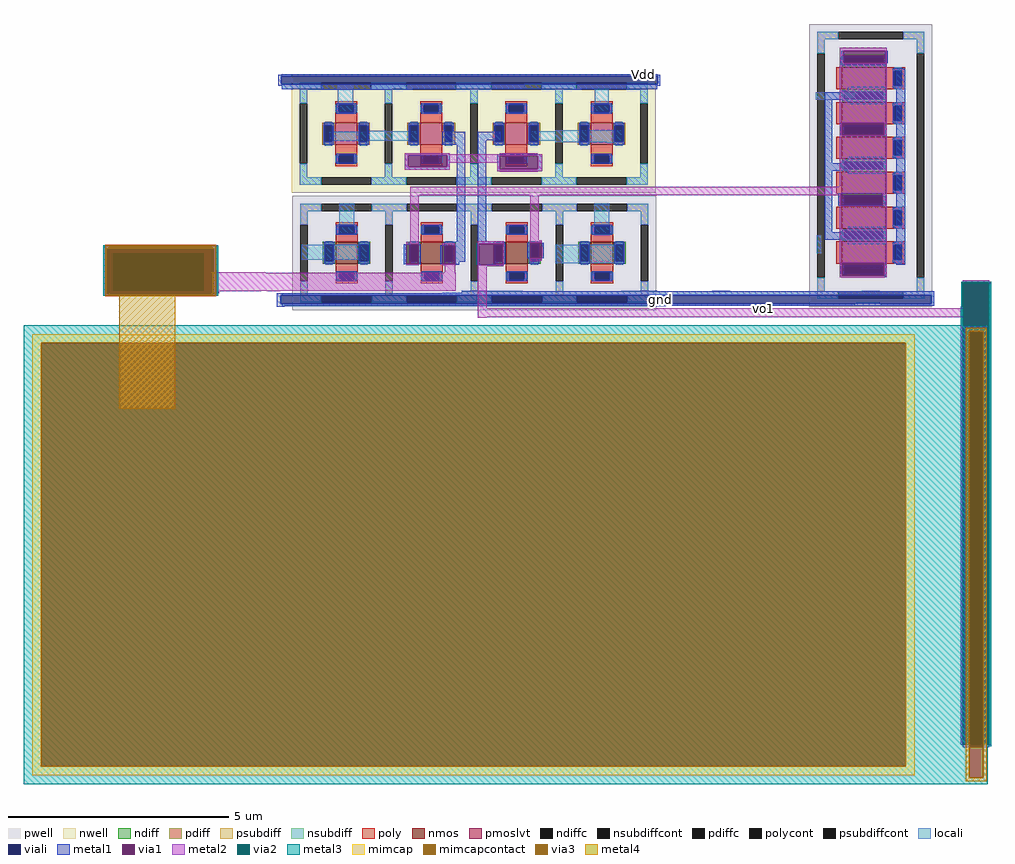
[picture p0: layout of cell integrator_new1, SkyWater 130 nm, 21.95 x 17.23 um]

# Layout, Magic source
magic
tech sky130A
magscale 1 2
<< locali >>
rect 2418 3468 4121 3477
rect 2418 3430 3518 3431
rect 2418 3409 2604 3430
rect 2672 3300 2742 3428
rect 2876 3409 3518 3430
rect 3598 3409 4121 3431
rect 3836 3304 3900 3409
rect 4840 3362 5016 3396
rect 2806 3218 2890 3220
rect 3658 3218 3964 3224
rect 2806 3217 3034 3218
rect 2634 3176 3034 3217
rect 3544 3176 3964 3218
rect 3658 3169 3964 3176
rect 3658 3168 3730 3169
rect 3894 3166 3964 3169
rect 2678 2752 2746 2888
rect 3834 2748 3902 2888
rect 2506 2636 2810 2704
rect 3662 2620 3970 2704
rect 4843 2665 4864 2747
rect 5047 2596 5129 2606
rect 4369 2494 4451 2496
rect 5047 2494 5129 2496
rect 3234 2486 5376 2494
rect 3146 2484 5376 2486
rect 2420 2474 5376 2484
rect 2420 2428 5018 2437
rect 5363 2437 5376 2474
rect 5134 2428 5376 2437
rect 2420 2426 4158 2428
<< viali >>
rect 2415 3434 4123 3468
rect 2415 3431 3518 3434
rect 3598 3431 4123 3434
rect 2414 2438 5363 2474
rect 2414 2437 5018 2438
rect 5134 2437 5363 2438
<< metal1 >>
rect 4954 3526 4964 3584
rect 5156 3526 5166 3584
rect 4984 3522 5157 3526
rect 2418 3474 4121 3477
rect 2403 3468 4135 3474
rect 2403 3431 2415 3468
rect 3518 3431 3598 3434
rect 4123 3431 4135 3468
rect 2403 3425 4135 3431
rect 2418 3410 4121 3425
rect 2418 3409 3518 3410
rect 3598 3409 4121 3410
rect 2598 3408 2916 3409
rect 2971 3408 3010 3409
rect 3737 3406 3775 3409
rect 4984 3396 5156 3421
rect 4881 3362 5156 3396
rect 3146 3158 3250 3216
rect 2976 3110 3180 3120
rect 2976 3058 2992 3110
rect 3168 3058 3180 3110
rect 2976 3044 3180 3058
rect 3212 2718 3250 3158
rect 3307 3177 3410 3216
rect 3307 2720 3346 3177
rect 3396 3108 3600 3114
rect 3396 3046 3406 3108
rect 3578 3046 3600 3108
rect 4881 3073 4915 3362
rect 4984 3342 5156 3362
rect 4948 3200 4958 3258
rect 5150 3200 5160 3258
rect 4984 3073 5158 3104
rect 3396 3038 3600 3046
rect 4879 3039 5158 3073
rect 4879 2761 4913 3039
rect 4984 3025 5158 3039
rect 4942 2880 4952 2938
rect 5144 2880 5154 2938
rect 4984 2761 5158 2785
rect 4879 2727 5158 2761
rect 1624 2482 1634 2686
rect 2102 2482 2112 2686
rect 2972 2616 2982 2707
rect 3039 2616 3049 2707
rect 3182 2703 3250 2718
rect 3306 2708 3424 2720
rect 3148 2702 3250 2703
rect 3136 2616 3146 2702
rect 3204 2628 3250 2702
rect 3204 2616 3222 2628
rect 3302 2616 3312 2708
rect 3422 2616 3432 2708
rect 3532 2642 3542 2714
rect 3596 2642 3606 2714
rect 4984 2706 5158 2727
rect 3148 2614 3222 2616
rect 3306 2614 3319 2616
rect 3392 2614 3424 2616
rect 3306 2612 3424 2614
rect 4948 2564 4958 2622
rect 5150 2564 5160 2622
rect 5204 2614 5245 3501
rect 4984 2562 5036 2564
rect 3234 2494 3510 2495
rect 3958 2494 4121 2495
rect 3234 2486 5376 2494
rect 3146 2484 5376 2486
rect 2396 2474 5376 2484
rect 2396 2437 2414 2474
rect 5018 2437 5134 2438
rect 5363 2437 5376 2474
rect 2396 2428 5376 2437
rect 2396 2427 4158 2428
rect 2396 2424 2430 2427
rect 4090 2426 4158 2427
rect 5500 2418 5506 2532
rect 5496 436 5506 2418
rect 5626 436 5636 2532
<< via1 >>
rect 4964 3526 5156 3584
rect 2992 3058 3168 3110
rect 3406 3046 3578 3108
rect 4958 3200 5150 3258
rect 4952 2880 5144 2938
rect 1634 2482 2102 2686
rect 2982 2616 3039 2707
rect 3146 2616 3204 2702
rect 3312 2616 3422 2708
rect 3542 2642 3596 2714
rect 3319 2614 3392 2616
rect 4958 2564 5150 2622
rect 5506 436 5626 2532
<< metal2 >>
rect 4948 3584 5160 3598
rect 4948 3526 4964 3584
rect 5156 3526 5160 3584
rect 4948 3258 5160 3526
rect 4948 3200 4958 3258
rect 5150 3200 5160 3258
rect 2976 3114 3180 3120
rect 3406 3114 3578 3118
rect 2976 3110 3600 3114
rect 2976 3058 2992 3110
rect 3168 3108 3600 3110
rect 3168 3076 3406 3108
rect 3168 3058 3180 3076
rect 2976 3044 3180 3058
rect 3396 3046 3406 3076
rect 3578 3046 3600 3108
rect 3396 3038 3600 3046
rect 3406 3036 3578 3038
rect 4948 2967 5160 3200
rect 3000 2938 5160 2967
rect 3000 2928 4952 2938
rect 3000 2717 3039 2928
rect 3544 2724 3583 2928
rect 4948 2880 4952 2928
rect 5144 2880 5160 2938
rect 2982 2707 3039 2717
rect 1634 2686 2102 2696
rect 2982 2610 3039 2616
rect 3146 2702 3204 2712
rect 3146 2610 3204 2616
rect 3306 2708 3424 2720
rect 3306 2616 3312 2708
rect 3422 2616 3424 2708
rect 3542 2714 3596 2724
rect 3596 2646 3598 2696
rect 3542 2632 3596 2642
rect 3544 2630 3583 2632
rect 3306 2614 3319 2616
rect 3392 2614 3424 2616
rect 3306 2612 3424 2614
rect 4948 2622 5160 2880
rect 2102 2578 2342 2580
rect 3156 2578 3204 2610
rect 2102 2576 3204 2578
rect 3307 2606 3422 2612
rect 2102 2496 3206 2576
rect 2102 2494 2324 2496
rect 2352 2494 2412 2496
rect 2102 2484 2134 2494
rect 1634 2472 2102 2482
rect 3307 2416 3348 2606
rect 4948 2564 4958 2622
rect 5150 2564 5160 2622
rect 4948 2556 5160 2564
rect 4958 2554 5150 2556
rect 5506 2532 5626 2542
rect 5500 2489 5506 2530
rect 3307 2375 5506 2416
rect 3307 2372 3348 2375
rect 5506 426 5626 436
<< via2 >>
rect 1648 2496 2064 2666
rect 5506 436 5626 2532
<< metal3 >>
rect 1608 2472 1618 2702
rect 2120 2472 2130 2702
rect 5500 2532 5636 2537
rect 5500 2423 5506 2532
rect 5496 436 5506 2423
rect 5626 436 5636 2532
rect 5496 431 5636 436
<< via3 >>
rect 1618 2666 2120 2702
rect 1618 2496 1648 2666
rect 1648 2496 2064 2666
rect 2064 2496 2120 2666
rect 1618 2472 2120 2496
<< metal4 >>
rect 1617 2702 2121 2703
rect 1617 2472 1618 2702
rect 2120 2472 2121 2702
rect 1617 2471 2121 2472
rect 1682 1960 1934 2471
use sky130_fd_pr__nfet_01v8_EJYG4R  sky130_fd_pr__nfet_01v8_EJYG4R_0
transform 0 -1 5088 1 0 3064
box -641 -279 641 279
use sky130_fd_pr__nfet_01v8_SMGLWN  sky130_fd_pr__nfet_01v8_SMGLWN_0
transform 1 0 2712 0 1 2667
box -246 -260 246 260
use sky130_fd_pr__nfet_01v8_SMGLWN  sky130_fd_pr__nfet_01v8_SMGLWN_1
transform 1 0 3870 0 1 2667
box -246 -260 246 260
use sky130_fd_pr__pfet_01v8_lvt_TM5SY6  sky130_fd_pr__pfet_01v8_lvt_TM5SY6_0
transform 1 0 3868 0 1 3208
box -246 -269 246 269
use sky130_fd_pr__cap_mim_m3_1_TNHPNJ  XC3
transform 1 0 3433 0 1 1299
box -2186 -1040 2186 1040
use sky130_fd_pr__nfet_01v8_SMGLWN  XM1
transform 1 0 3098 0 1 2667
box -246 -260 246 260
use sky130_fd_pr__nfet_01v8_SMGLWN  XM2
transform 1 0 3484 0 1 2667
box -246 -260 246 260
use sky130_fd_pr__pfet_01v8_lvt_TM5SY6  XM3
transform 1 0 3482 0 1 3208
box -246 -269 246 269
use sky130_fd_pr__pfet_01v8_lvt_TM5SY6  XM6
transform 1 0 2710 0 1 3208
box -246 -269 246 269
use sky130_fd_pr__pfet_01v8_lvt_TM5SY6  XM18
transform 1 0 3096 0 1 3208
box -246 -269 246 269
<< labels >>
rlabel metal2 4602 2416 4602 2416 1 vo1
rlabel viali 4134 2455 4134 2455 3 gnd
rlabel metal1 4056 3477 4056 3477 1 Vdd
<< end >>

# cell sky130_fd_pr__nfet_01v8_EJYG4R: kit device sky130_fd_pr__nfet_01v8, w 1 l 0.5 m 1 nf 6 diffcov 100 polycov 100 guard 1 glc 1 grc 1 gtc 1 gbc 1 tbcov 100 rlcov 100 topc 0 botc 1 poverlap 0 doverlap 1 lmin 0.15 wmin 0.42 compatible {sky130_fd_pr__nfet_01v8 sky130_fd_pr__nfet_01v8_lvt sky130_fd_bs_flash__special_sonosfet_star sky130_fd_pr__nfet_g5v0d10v5 sky130_fd_pr__nfet_05v0_nvt sky130_fd_pr__nfet_03v3_nvt} full_metal 1 viasrc 100 viadrn 100 viagate 100 viagb 0 viagr 0 viagl 0 viagt 0

# cell sky130_fd_pr__nfet_01v8_SMGLWN: kit device sky130_fd_pr__nfet_01v8, w 0.5 l 0.5 m 1 nf 1 diffcov 100 polycov 100 guard 1 glc 1 grc 1 gtc 1 gbc 1 tbcov 100 rlcov 100 topc 1 botc 1 poverlap 0 doverlap 1 lmin 0.15 wmin 0.42 compatible {sky130_fd_pr__nfet_01v8 sky130_fd_pr__nfet_01v8_lvt sky130_fd_bs_flash__special_sonosfet_star sky130_fd_pr__nfet_g5v0d10v5 sky130_fd_pr__nfet_05v0_nvt sky130_fd_pr__nfet_03v3_nvt} full_metal 1 viasrc 100 viadrn 100 viagate 100 viagb 0 viagr 0 viagl 0 viagt 0

# cell sky130_fd_pr__pfet_01v8_lvt_TM5SY6: kit device sky130_fd_pr__pfet_01v8_lvt, w 0.5 l 0.5 m 1 nf 1 diffcov 100 polycov 100 guard 1 glc 1 grc 1 gtc 1 gbc 1 tbcov 100 rlcov 100 topc 1 botc 1 poverlap 0 doverlap 1 lmin 0.15 wmin 0.42 compatible {sky130_fd_pr__pfet_01v8 sky130_fd_pr__pfet_01v8_lvt sky130_fd_pr__pfet_01v8_hvt sky130_fd_pr__pfet_g5v0d10v5} full_metal 1 viasrc 100 viadrn 100 viagate 100 viagb 0 viagr 0 viagl 0 viagt 0

# cell sky130_fd_pr__cap_mim_m3_1_TNHPNJ: kit device sky130_fd_pr__cap_mim_m3_1, w 20.0 l 10.0 val 411.4 carea 2.00 cperi 0.19 nx 1 ny 1 dummy 0 square 0 lmin 2.00 wmin 2.00 lmax 30.0 wmax 30.0 dc 0 bconnect 1 tconnect 1 ccov 100
